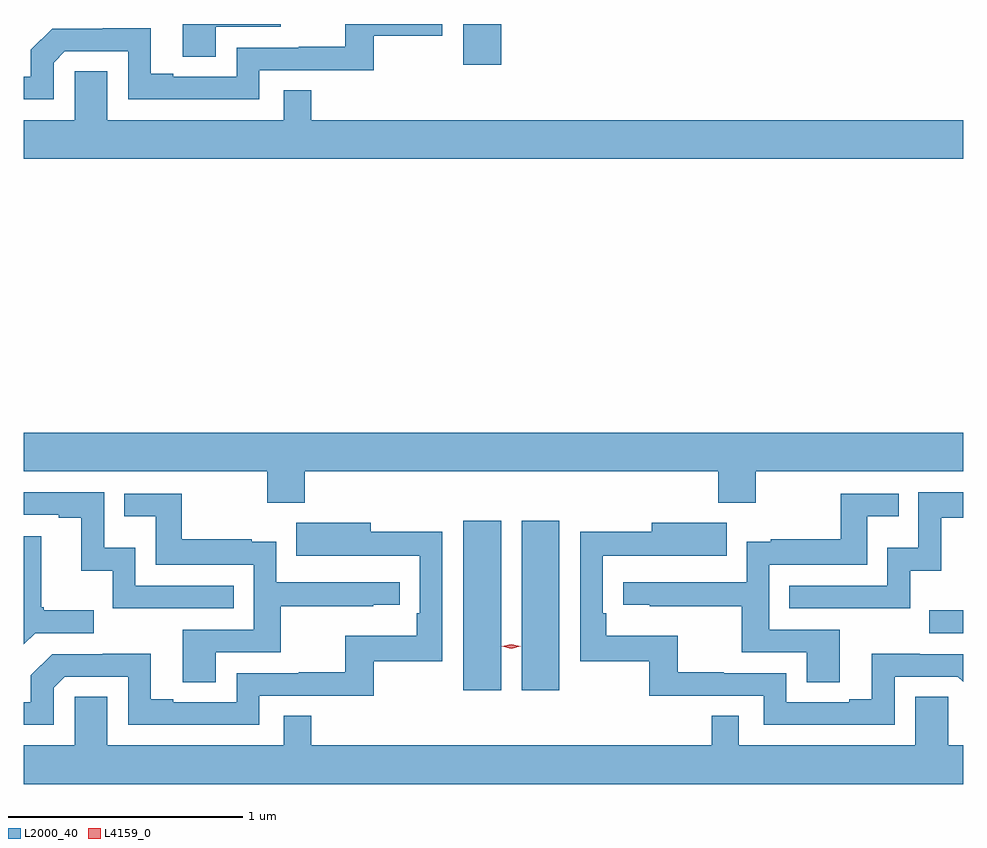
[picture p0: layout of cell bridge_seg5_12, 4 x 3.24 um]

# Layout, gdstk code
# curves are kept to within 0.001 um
import gdstk
lib = gdstk.Library(unit=1e-6, precision=1e-09)
def R(c, l, rs):  # rectangles x0, y0, x1, y1
    for r in rs: c.add(gdstk.rectangle(r[:2], r[2:], *l))
def P(c, l, *ps):  # polygons
    for p in ps: c.add(gdstk.Polygon(p, *l))
L2000_40 = (2000, 40)
L4159_0 = (4159, 0)

bridge_seg5_12 = lib.new_cell('bridge_seg5_12')
R(bridge_seg5_12, L2000_40, [(899.705,887.796,899.866,888.517), (899.954,887.796,900.115,888.517), (901.689,888.039,901.834,888.136), (899.705,890.46,899.866,890.633)])
P(bridge_seg5_12, L2000_40, [(897.96,890.469),(898.008,890.517),(898.278,890.517),(898.278,890.313),(898.836,890.313),(898.836,890.436),(899.323,890.436),(899.323,890.583),(899.616,890.583),(899.616,890.633),(899.202,890.633),(899.202,890.537),(899.005,890.537),(899.005,890.532),(898.74,890.532),(898.74,890.409),(898.471,890.409),(898.471,890.422),(898.375,890.422),(898.375,890.615),(898.17,890.615),(898.17,890.613),(897.954,890.613),(897.864,890.523),(897.864,890.409),(897.834,890.409),(897.834,890.313),(897.96,890.313)],
  [(898.651,890.622),(898.928,890.622),(898.928,890.633),(898.511,890.633),(898.511,890.494),(898.651,890.494)],
  [(901.834,890.224),(899.057,890.224),(899.057,890.351),(898.941,890.351),(898.941,890.224),(898.189,890.224),(898.189,890.432),(898.05,890.432),(898.05,890.224),(897.834,890.224),(897.834,890.06),(901.834,890.06)],
  [(899.03,888.728),(900.791,888.728),(900.791,888.593),(900.951,888.593),(900.951,888.728),(901.834,888.728),(901.834,888.892),(897.834,888.892),(897.834,888.728),(898.87,888.728),(898.87,888.593),(899.03,888.593)],
  [(898.727,888.24),(898.308,888.24),(898.308,888.403),(898.176,888.403),(898.176,888.639),(897.834,888.639),(897.834,888.543),(897.983,888.543),(897.983,888.531),(898.079,888.531),(898.079,888.305),(898.212,888.305),(898.212,888.144),(898.727,888.144)],
  [(901.608,888.305),(901.741,888.305),(901.741,888.531),(901.834,888.531),(901.834,888.639),(901.644,888.639),(901.644,888.403),(901.512,888.403),(901.512,888.24),(901.093,888.24),(901.093,888.144),(901.608,888.144)],
  [(901.309,888.054),(901.008,888.054),(901.008,888.33),(901.425,888.33),(901.425,888.536),(901.559,888.536),(901.559,888.633),(901.314,888.633),(901.314,888.439),(901.015,888.439),(901.015,888.427),(900.912,888.427),(900.912,888.255),(900.387,888.255),(900.387,888.159),(900.499,888.159),(900.499,888.154),(900.892,888.154),(900.892,887.958),(901.169,887.958),(901.169,887.83),(901.309,887.83)],
  [(898.651,887.958),(898.928,887.958),(898.928,888.154),(899.321,888.154),(899.321,888.159),(899.434,888.159),(899.434,888.255),(898.908,888.255),(898.908,888.427),(898.805,888.427),(898.805,888.439),(898.507,888.439),(898.507,888.633),(898.261,888.633),(898.261,888.536),(898.396,888.536),(898.396,888.33),(898.812,888.33),(898.812,888.054),(898.511,888.054),(898.511,887.83),(898.651,887.83)],
  [(901.542,887.853),(901.812,887.853),(901.834,887.831),(901.834,887.949),(901.65,887.949),(901.65,887.951),(901.445,887.951),(901.445,887.758),(901.349,887.758),(901.349,887.745),(901.08,887.745),(901.08,887.868),(900.815,887.868),(900.815,887.873),(900.619,887.873),(900.619,888.028),(900.314,888.028),(900.314,888.124),(900.3,888.124),(900.3,888.369),(900.827,888.368),(900.827,888.508),(900.509,888.508),(900.509,888.47),(900.204,888.47),(900.204,887.919),(900.498,887.919),(900.498,887.772),(900.984,887.772),(900.984,887.649),(901.542,887.649)],
  [(897.96,887.805),(898.008,887.853),(898.278,887.853),(898.278,887.649),(898.836,887.649),(898.836,887.772),(899.323,887.772),(899.323,887.919),(899.616,887.919),(899.616,888.47),(899.311,888.47),(899.311,888.508),(898.993,888.508),(898.993,888.368),(899.52,888.369),(899.52,888.124),(899.507,888.124),(899.507,888.028),(899.202,888.028),(899.202,887.873),(899.005,887.873),(899.005,887.868),(898.74,887.868),(898.74,887.745),(898.471,887.745),(898.471,887.758),(898.375,887.758),(898.375,887.951),(898.17,887.951),(898.17,887.949),(897.954,887.949),(897.864,887.859),(897.864,887.745),(897.834,887.745),(897.834,887.649),(897.96,887.649)],
  [(897.882,888.039),(898.132,888.039),(898.132,888.136),(897.919,888.136),(897.919,888.148),(897.907,888.148),(897.907,888.451),(897.834,888.451),(897.834,887.991)],
  [(901.834,887.56),(901.77,887.56),(901.77,887.768),(901.631,887.768),(901.631,887.56),(900.879,887.56),(900.879,887.687),(900.763,887.687),(900.763,887.56),(899.057,887.56),(899.057,887.687),(898.941,887.687),(898.941,887.56),(898.189,887.56),(898.189,887.768),(898.05,887.768),(898.05,887.56),(897.834,887.56),(897.834,887.396),(901.834,887.396)])
P(bridge_seg5_12, L4159_0, [(899.91,887.972),(899.87,887.982),(899.87,887.982),(899.87,887.982),(899.91,887.992),(899.95,887.982),(899.95,887.982),(899.95,887.982)])

lib.write_gds('bridge_seg5_12.gds')
